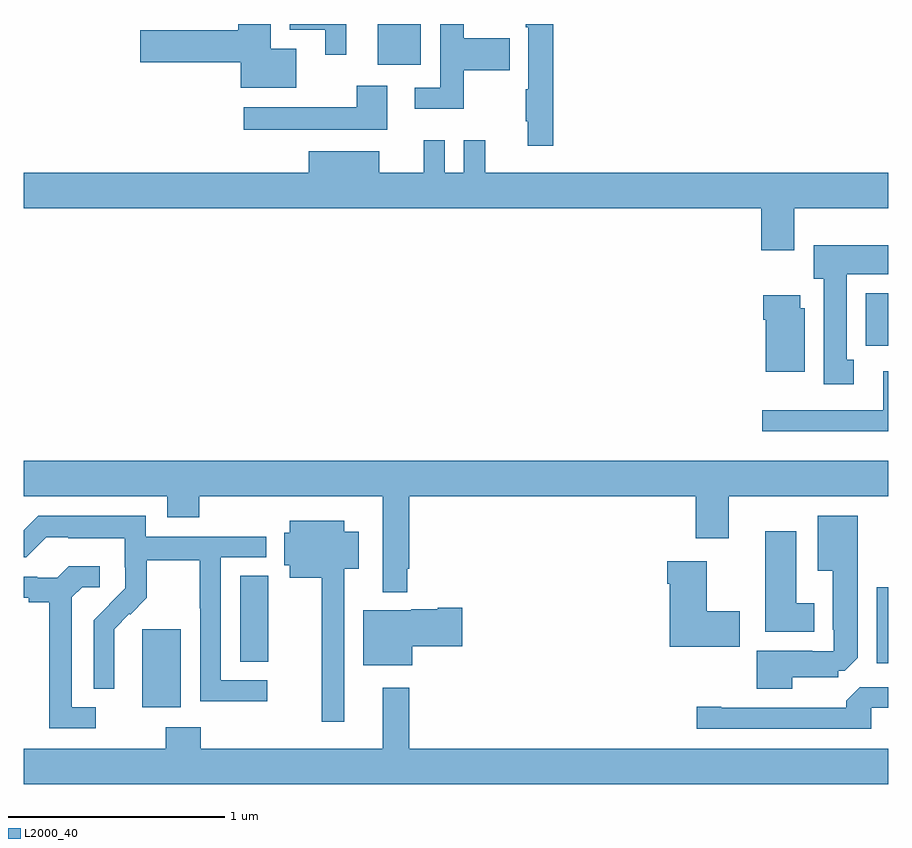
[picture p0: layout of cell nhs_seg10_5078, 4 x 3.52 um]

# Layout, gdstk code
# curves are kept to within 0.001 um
import gdstk
lib = gdstk.Library(unit=1e-6, precision=1e-09)
def R(c, l, rs):  # rectangles x0, y0, x1, y1
    for r in rs: c.add(gdstk.rectangle(r[:2], r[2:], *l))
def P(c, l, *ps):  # polygons
    for p in ps: c.add(gdstk.Polygon(p, *l))
L2000_40 = (2000, 40)

nhs_seg10_5078 = lib.new_cell('nhs_seg10_5078')
R(nhs_seg10_5078, L2000_40, [(405.548,1299.338,405.727,1299.699), (408.947,1299.542,409,1299.895), (408.896,1301.012,409,1301.254), (406.637,1302.311,406.837,1302.5)])
P(nhs_seg10_5078, L2000_40, [(407.035,1302.286),(407.249,1302.286),(407.249,1302.433),(407.035,1302.433),(407.035,1302.5),(406.926,1302.5),(406.926,1302.204),(406.809,1302.204),(406.809,1302.107),(407.035,1302.107)],
  [(406.492,1302.5),(406.232,1302.5),(406.232,1302.474),(406.394,1302.474),(406.394,1302.357),(406.492,1302.357)],
  [(407.45,1302.5),(407.322,1302.5),(407.322,1302.485),(407.334,1302.485),(407.334,1302.197),(407.322,1302.197),(407.322,1302.049),(407.333,1302.049),(407.333,1301.937),(407.45,1301.937)],
  [(406.261,1302.385),(406.144,1302.385),(406.144,1302.5),(405.992,1302.5),(405.992,1302.47),(405.54,1302.47),(405.54,1302.323),(406.004,1302.323),(406.004,1302.206),(406.261,1302.206)],
  [(406.681,1302.214),(406.541,1302.214),(406.541,1302.115),(406.017,1302.115),(406.017,1302.011),(406.681,1302.011)],
  [(408.565,1301.648),(409,1301.648),(409,1301.812),(407.135,1301.812),(407.135,1301.962),(407.037,1301.962),(407.037,1301.812),(406.947,1301.812),(406.947,1301.962),(406.85,1301.962),(406.85,1301.812),(406.645,1301.812),(406.645,1301.911),(406.319,1301.911),(406.319,1301.812),(405,1301.812),(405,1301.648),(408.413,1301.648),(408.413,1301.454),(408.565,1301.454)],
  [(408.841,1300.946),(408.808,1300.946),(408.808,1301.342),(409,1301.342),(409,1301.476),(408.656,1301.476),(408.656,1301.322),(408.701,1301.322),(408.701,1300.833),(408.841,1300.833)],
  [(408.613,1301.184),(408.592,1301.184),(408.592,1301.245),(408.422,1301.245),(408.422,1301.132),(408.434,1301.132),(408.434,1300.892),(408.613,1300.892)],
  [(409,1300.894),(408.977,1300.894),(408.977,1300.713),(408.417,1300.713),(408.417,1300.616),(409,1300.616)],
  [(406.775,1299.979),(406.783,1299.979),(406.783,1300.316),(408.11,1300.316),(408.11,1300.122),(408.262,1300.122),(408.262,1300.316),(409,1300.316),(409,1300.48),(405,1300.48),(405,1300.316),(405.665,1300.316),(405.665,1300.217),(405.813,1300.217),(405.813,1300.316),(406.661,1300.316),(406.661,1299.872),(406.775,1299.872)],
  [(406.126,1299.465),(405.912,1299.465),(405.912,1300.032),(406.121,1300.032),(406.121,1300.128),(405.564,1300.128),(405.564,1300.225),(405.067,1300.225),(405,1300.158),(405,1300.032),(405.012,1300.032),(405.105,1300.125),(405.205,1300.125),(405.205,1300.121),(405.468,1300.121),(405.468,1299.987),(405.47,1299.987),(405.47,1299.89),(405.324,1299.742),(405.324,1299.424),(405.42,1299.424),(405.419,1299.701),(405.489,1299.771),(405.492,1299.768),(405.569,1299.845),(405.569,1300.02),(405.814,1300.02),(405.814,1299.796),(405.816,1299.796),(405.816,1299.367),(406.126,1299.367)],
  [(408.556,1299.479),(408.768,1299.479),(408.768,1299.507),(408.799,1299.507),(408.859,1299.567),(408.859,1300.225),(408.674,1300.225),(408.674,1299.971),(408.743,1299.971),(408.743,1299.697),(408.747,1299.697),(408.747,1299.597),(408.647,1299.597),(408.647,1299.601),(408.392,1299.601),(408.392,1299.425),(408.556,1299.425)],
  [(406.483,1299.98),(406.549,1299.98),(406.549,1300.15),(406.483,1300.15),(406.483,1300.201),(406.232,1300.201),(406.232,1300.146),(406.206,1300.146),(406.206,1299.996),(406.232,1299.996),(406.232,1299.938),(406.379,1299.938),(406.379,1299.273),(406.483,1299.273)],
  [(408.658,1299.82),(408.574,1299.82),(408.574,1300.153),(408.431,1300.153),(408.431,1299.689),(408.658,1299.689)],
  [(408.313,1299.783),(408.16,1299.783),(408.16,1300.015),(407.978,1300.015),(407.978,1299.911),(407.99,1299.911),(407.99,1299.62),(408.313,1299.62)],
  [(405.334,1299.339),(405.223,1299.339),(405.223,1299.847),(405.27,1299.894),(405.352,1299.894),(405.352,1299.991),(405.208,1299.991),(405.156,1299.939),(405.062,1299.939),(405.062,1299.942),(405,1299.942),(405,1299.846),(405.023,1299.846),(405.023,1299.824),(405.119,1299.824),(405.119,1299.243),(405.334,1299.243)],
  [(406.132,1299.839),(406.131,1299.839),(406.131,1299.947),(406.001,1299.947),(406.001,1299.55),(406.132,1299.55)],
  [(406.798,1299.622),(407.029,1299.622),(407.029,1299.8),(406.916,1299.8),(406.916,1299.793),(406.794,1299.793),(406.794,1299.787),(406.571,1299.787),(406.571,1299.533),(406.798,1299.533)],
  [(408.921,1299.336),(409,1299.336),(409,1299.432),(408.867,1299.432),(408.806,1299.37),(408.806,1299.336),(408.226,1299.336),(408.226,1299.341),(408.114,1299.341),(408.114,1299.24),(408.921,1299.24)],
  [(409,1299.148),(406.783,1299.148),(406.783,1299.43),(406.661,1299.43),(406.661,1299.148),(405.818,1299.148),(405.818,1299.247),(405.658,1299.247),(405.658,1299.148),(405,1299.148),(405,1298.984),(409,1298.984)])

lib.write_gds('nhs_seg10_5078.gds')
